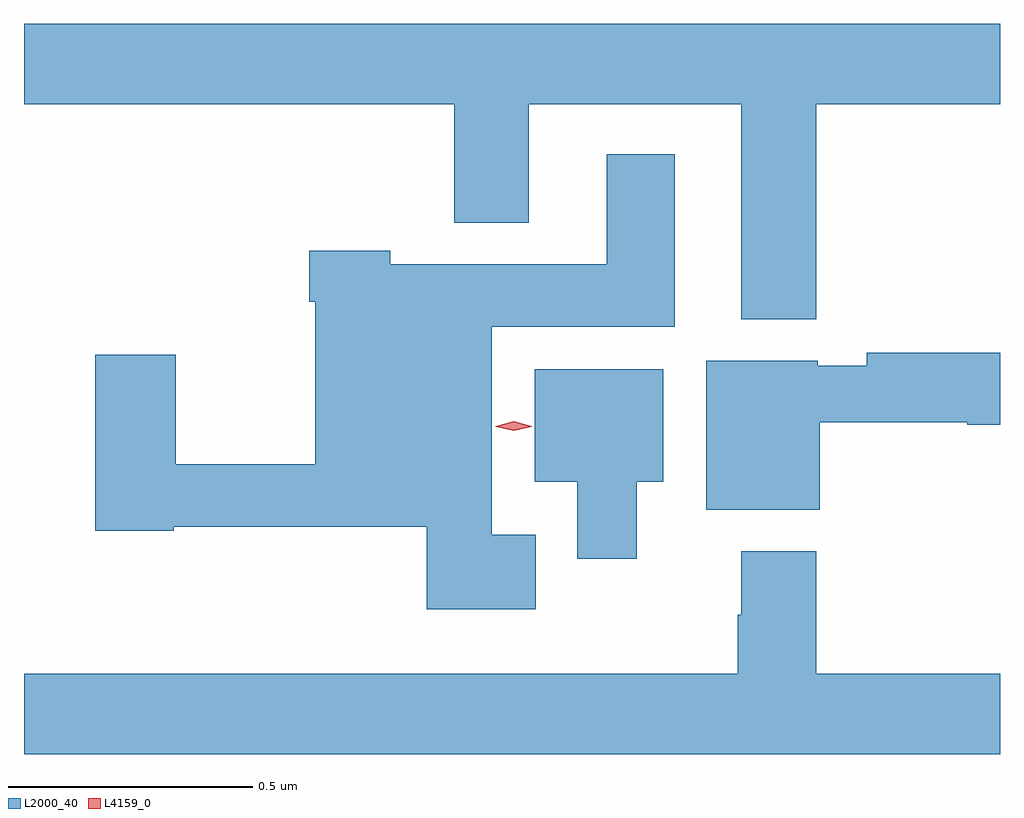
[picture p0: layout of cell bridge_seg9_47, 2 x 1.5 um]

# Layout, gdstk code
import gdstk
lib = gdstk.Library(unit=1e-6, precision=1e-09)
def P(c, l, *ps):  # polygons
    for p in ps: c.add(gdstk.Polygon(p, *l))
L2000_40 = (2000, 40)
L4159_0 = (4159, 0)

bridge_seg9_47 = lib.new_cell('bridge_seg9_47')
P(bridge_seg9_47, L2000_40, [(912.29,1204.412),(912.667,1204.412),(912.667,1204.576),(910.667,1204.576),(910.667,1204.412),(911.549,1204.412),(911.549,1204.169),(911.701,1204.169),(911.701,1204.412),(912.137,1204.412),(912.137,1203.971),(912.29,1203.971)],
  [(911.716,1203.529),(911.626,1203.529),(911.626,1203.956),(912.001,1203.956),(912.001,1204.309),(911.861,1204.309),(911.861,1204.084),(911.418,1204.084),(911.418,1204.111),(911.252,1204.111),(911.252,1204.007),(911.264,1204.007),(911.264,1203.674),(910.978,1203.674),(910.978,1203.898),(910.813,1203.898),(910.813,1203.538),(910.974,1203.538),(910.974,1203.546),(911.492,1203.546),(911.492,1203.377),(911.716,1203.377)],
  [(912.298,1203.76),(912.6,1203.76),(912.6,1203.755),(912.667,1203.755),(912.667,1203.902),(912.394,1203.902),(912.394,1203.876),(912.294,1203.876),(912.294,1203.886),(912.065,1203.886),(912.065,1203.581),(912.298,1203.581)],
  [(911.923,1203.638),(911.977,1203.638),(911.977,1203.868),(911.714,1203.868),(911.714,1203.638),(911.801,1203.638),(911.801,1203.48),(911.923,1203.48)],
  [(912.667,1203.244),(912.29,1203.244),(912.29,1203.496),(912.137,1203.496),(912.137,1203.365),(912.13,1203.365),(912.13,1203.244),(910.667,1203.244),(910.667,1203.08),(912.667,1203.08)])
P(bridge_seg9_47, L4159_0, [(911.671,1203.742),(911.634,1203.751),(911.634,1203.751),(911.634,1203.752),(911.671,1203.762),(911.707,1203.752),(911.708,1203.752),(911.707,1203.751)])

lib.write_gds('bridge_seg9_47.gds')
